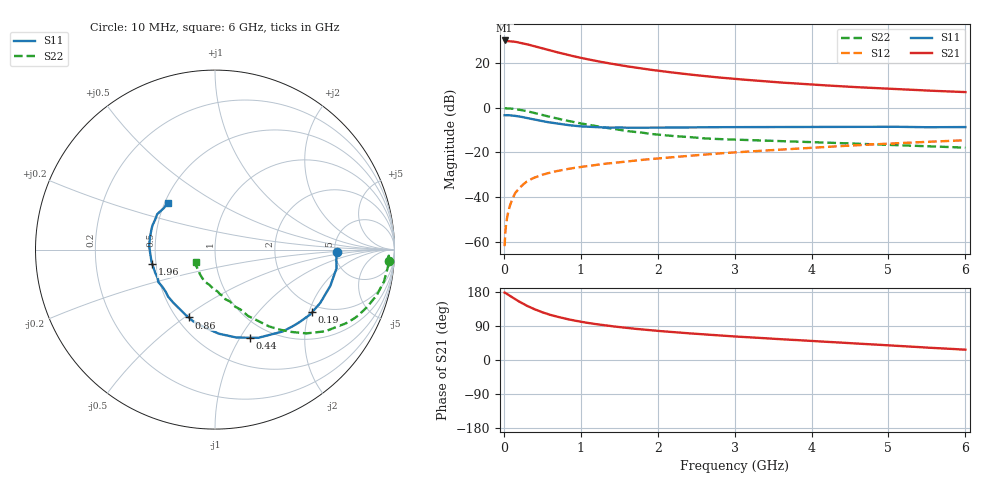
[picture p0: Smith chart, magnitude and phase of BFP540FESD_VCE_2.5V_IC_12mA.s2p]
! Infineon Technologies  Discrete & RF Semiconductors
! BFP540FESD
! VCE =  2.5 V,  IC =  12 mA
! Common Emitter S-Parameters:  Nov 2015
# GHz  S  MA  R  50
!  f  S11  S21  S12  S22
! GHz  MAG  ANG  MAG  ANG  MAG  ANG  MAG  ANG
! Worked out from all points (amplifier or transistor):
!   210 points, 10 MHz to 6 GHz, reference 50 ohm
!   highest |S21| = 30.1 dB at 10 MHz (marker M1)
!   |S21| within 3 dB of that: start of sweep to 445.3 MHz
!   unconditionally stable (mu >= 1): 2.088 GHz to end of sweep
!   at 185 MHz: K = 0.19, MSG = 33.0 dB, |S12| = -36.7 dB
!   at 1.52 GHz: K = 0.88, MSG = 21.7 dB, |S12| = -24.3 dB
!   at 6 GHz: K = 1.21, MAG = 8.0 dB, |S12| = -14.5 dB
!   S11 on the Smith chart (normalised r, x): 10 MHz: 5.26, -0.21; 190 MHz: 1.76, -2.10; 440 MHz: 0.81, -1.10; 860 MHz: 0.57, -0.52; 1.96 GHz: 0.48, -0.09; 6 GHz: 0.52, +0.32
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0.01  0.681 -0.9  32.05 177.9  0.0008 95.3  0.9722 -3.7
0.02  0.6782 -4.9  31.14 177.0  0.0017 104.5  0.9688 -2.0
0.1  0.6738 -17.4  30.54 166.6  0.0081 83.5  0.9581 -10.7
0.15  0.6573 -27.0  29.91 160.3  0.0125 79.1  0.9356 -15.9
0.19  0.6436 -32.9  28.94 155.4  0.0151 75.4  0.9105 -19.8
0.3  0.5925 -50.3  26.39 143.1  0.0225 70.4  0.8371 -29.4
0.4  0.5474 -63.9  23.82 133.8  0.0275 65.1  0.7637 -36.6
0.44  0.5272 -68.6  22.82 130.8  0.0291 63.8  0.7332 -38.9
0.5  0.5043 -76.3  21.45 125.9  0.0316 62.2  0.6899 -42.6
0.6  0.469 -87.4  19.18 119.3  0.0354 59.5  0.6261 -47.1
0.7  0.4402 -96.5  17.34 113.9  0.0387 57.8  0.5734 -51.0
0.86  0.4057 -111.2  14.85 106.5  0.0434 56.3  0.4982 -56.5
1.02  0.3822 -122.7  12.88 100.4  0.048 55.5  0.4406 -60.7
1.2  0.3698 -135.0  11.12 94.6  0.0526 55.1  0.3876 -65.2
1.42  0.3597 -146.0  9.534 88.8  0.0582 54.5  0.3373 -70.5
1.96  0.3591 -167.3  6.901 77.6  0.0723 53.2  0.2551 -82.2
2.02  0.36 -169.5  6.691 76.5  0.0739 53.1  0.2498 -83.7
2.54  0.3661 178.1  5.266 68.5  0.0876 52.0  0.2109 -94.8
3.1  0.369 168.6  4.287 61.0  0.1026 50.0  0.1919 -103.7
4.1  0.3733 157.5  3.23 49.1  0.1308 45.9  0.1682 -117.1
5.1  0.3751 147.0  2.617 37.5  0.1604 39.5  0.146 -130.2
6  0.3699 134.9  2.242 27.2  0.1876 32.9  0.1278 -147.8
